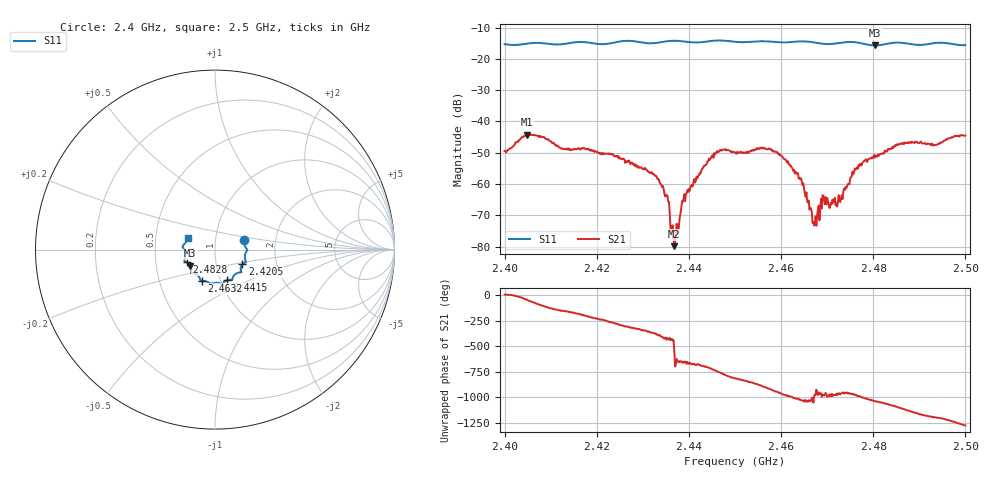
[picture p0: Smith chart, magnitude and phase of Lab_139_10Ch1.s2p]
# Hz S RI R 50
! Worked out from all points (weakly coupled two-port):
!   601 points, 2.4 GHz to 2.5 GHz, reference 50 ohm
!   highest |S21| = -44.18 dB at 2.4048 GHz (marker M1); lowest = -79.9 dB at 2.4368 GHz (marker M2)
!   lowest |S11| = -15.7 dB at 2.4803 GHz (marker M3), VSWR 1.39, Z = 37.4 - j6.85 ohm
!   |S11| at or under -10 dB: start of sweep to end of sweep
!   S12 and S22 are empty: the file has one direction only
!   S11 on the Smith chart (normalised r, x): 2.4 GHz: 1.38, +0.15; 2.4205 GHz: 1.34, -0.23; 2.4415 GHz: 1.07, -0.38; 2.4632 GHz: 0.82, -0.29; 2.4828 GHz: 0.72, -0.10; 2.5 GHz: 0.73, +0.10
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2.4e9  0.1637 0.0517  0.00335 0.000388  0 0  0 0
2.404833e9  0.1752 0.00522  0.00446 -0.00427  0 0  0 0
2.416667e9  0.1729 -0.0699  -0.0037 0.000597  0 0  0 0
2.4205e9  0.1522 -0.0818  -0.00173 0.00261  0 0  0 0
2.433333e9  0.1006 -0.1515  0.001 -0.000666  0 0  0 0
2.435167e9  0.0973 -0.1648  0.000159 -0.000615  0 0  0 0
2.436833e9  0.0967 -0.1696  -0.0001 1.72e-05  0 0  0 0
2.439e9  0.0881 -0.1679  0.000341 0.0006  0 0  0 0
2.4415e9  0.0655 -0.1706  0.000934 0.000626  0 0  0 0
2.446e9  0.0414 -0.1923  0.00298 -0.00134  0 0  0 0
2.45e9  0.0245 -0.1863  -0.000241 -0.0032  0 0  0 0
2.4575e9  -0.0288 -0.1875  -0.00346 0.00108  0 0  0 0
2.463167e9  -0.073 -0.1739  0.00061 0.00145  0 0  0 0
2.466667e9  -0.082 -0.167  9.63e-05 0.000346  0 0  0 0
2.467333e9  -0.0836 -0.1627  -6.59e-05 0.000218  0 0  0 0
2.469167e9  -0.0922 -0.148  -0.000144 0.000628  0 0  0 0
2.472333e9  -0.1215 -0.1308  -0.000137 0.000494  0 0  0 0
2.476e9  -0.1335 -0.1279  -0.000517 0.0017  0 0  0 0
2.480333e9  -0.1378 -0.0892  0.00195 0.00177  0 0  0 0
2.482833e9  -0.1586 -0.0701  0.00321 0.000906  0 0  0 0
2.483333e9  -0.1625 -0.068  0.00352 0.000629  0 0  0 0
2.5e9  -0.153 0.0647  -0.00573 0.00165  0 0  0 0
